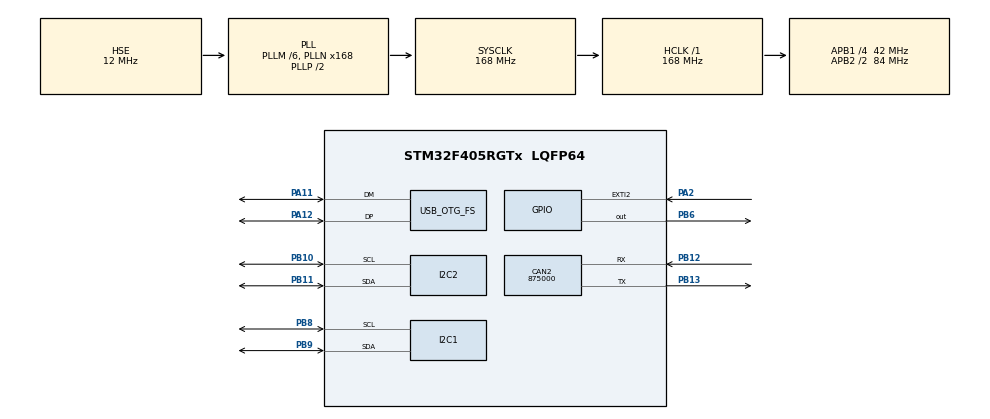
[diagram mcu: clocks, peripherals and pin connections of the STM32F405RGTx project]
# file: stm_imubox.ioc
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CAN2.BS1=CAN_BS1_1TQ
CAN2.BS2=CAN_BS2_1TQ
CAN2.CalculateBaudRate=875000
CAN2.CalculateTimeBit=1142
CAN2.CalculateTimeQuantum=380.95238095238096
I2C1.I2C_Mode=I2C_Standard
Mcu.Family=STM32F4
Mcu.Name=STM32F405RGTx
Mcu.Package=LQFP64
NVIC.PriorityGroup=NVIC_PRIORITYGROUP_4
PA11.Mode=Host_Only
PA11.Signal=USB_OTG_FS_DM
PA12.Mode=Host_Only
PA12.Signal=USB_OTG_FS_DP
PA13.Mode=JTAG_4_pins
PA13.Signal=SYS_JTMS-SWDIO
PA14.Mode=JTAG_4_pins
PA14.Signal=SYS_JTCK-SWCLK
PA15.Mode=JTAG_4_pins
PA15.Signal=SYS_JTDI
PA2.Signal=GPXTI2
PB10.Mode=I2C
PB10.Signal=I2C2_SCL
PB11.Mode=I2C
PB11.Signal=I2C2_SDA
PB12.Mode=CAN_Activate
PB12.Signal=CAN2_RX
PB13.Mode=CAN_Activate
PB13.Signal=CAN2_TX
PB3.Mode=JTAG_4_pins
PB3.Signal=SYS_JTDO-SWO
PB6.Signal=GPIO_Output
PB8.Mode=I2C
PB8.Signal=I2C1_SCL
PB9.Mode=I2C
PB9.Signal=I2C1_SDA
PH0-OSC_IN.Mode=HSE-External-Oscillator
PH0-OSC_IN.Signal=RCC_OSC_IN
PH1-OSC_OUT.Mode=HSE-External-Oscillator
PH1-OSC_OUT.Signal=RCC_OSC_OUT
ProjectManager.HeapSize=0x200
ProjectManager.StackSize=0x400
ProjectManager.TargetToolchain=STM32CubeIDE
RCC.48MHZClocksFreq_Value=48000000
RCC.AHBFreq_Value=168000000
RCC.APB1CLKDivider=RCC_HCLK_DIV4
RCC.APB1Freq_Value=42000000
RCC.APB1TimFreq_Value=84000000
RCC.APB2CLKDivider=RCC_HCLK_DIV2
RCC.APB2Freq_Value=84000000
RCC.APB2TimFreq_Value=168000000
RCC.CortexFreq_Value=168000000
RCC.HCLKFreq_Value=168000000
RCC.HSE_VALUE=12000000
RCC.HSI_VALUE=16000000
RCC.LSE_VALUE=32768
RCC.PLLM=6
RCC.PLLN=168
RCC.PLLQ=7
RCC.SYSCLKFreq_VALUE=168000000
RCC.SYSCLKSource=RCC_SYSCLKSOURCE_PLLCLK
RCC.VCOOutputFreq_Value=336000000
USB_OTG_FS.VirtualMode=Host_Only
USB_OTG_FS.phy_itface=HCD_PHY_EMBEDDED
board=custom

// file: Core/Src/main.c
/* USER CODE BEGIN Header */
/**
  ******************************************************************************
  * @file           : main.c
  * @brief          : Main program body
  ******************************************************************************
  * @attention
  *
  * Copyright (c) 2025 STMicroelectronics.
  * All rights reserved.
  *
  * This software is licensed under terms that can be found in the LICENSE file
  * in the root directory of this software component.
  * If no LICENSE file comes with this software, it is provided AS-IS.
  *
  ******************************************************************************
  */
/* USER CODE END Header */
#include "main.h"

CAN_HandleTypeDef hcan2;

I2C_HandleTypeDef hi2c1;
I2C_HandleTypeDef hi2c2;

HCD_HandleTypeDef hhcd_USB_OTG_FS;

/* USER CODE BEGIN PV */

ISM330DHCX_Object_t myISM;
ISM330DHCX_Axes_t accelData, gyroData;

uint8_t ledState = GPIO_PIN_SET;

float pitch = 0.0, roll = 0.0;
float pitchAccel = 0.0, rollAccel = 0.0;
float kpitch = 0.98;
float kroll = 0.98;

/* USER CODE END PV */

void SystemClock_Config(void);
static void MX_GPIO_Init(void);
static void MX_CAN2_Init(void);
static void MX_I2C1_Init(void);
static void MX_I2C2_Init(void);
static void MX_USB_OTG_FS_HCD_Init(void);

int main(void)
{

  /* MCU Configuration--------------------------------------------------------*/

  /* Reset of all peripherals, Initializes the Flash interface and the Systick. */
  HAL_Init();

  /* Configure the system clock */
  SystemClock_Config();

  /* Initialize all configured peripherals */
  MX_GPIO_Init();
  MX_CAN2_Init();
  MX_I2C1_Init();
  MX_I2C2_Init();
  MX_USB_OTG_FS_HCD_Init();
  /* USER CODE BEGIN 2 */
  HAL_Delay(100);
  if (ISM330DHCX_Init(&myISM) != ISM330DHCX_OK) { // ISM330HDCX OK is equal to 0
          printf("lmao your ism didnt work lil bro \n");
          Error_Handler();
      }
  /* USER CODE END 2 */

  /* Infinite loop */
  /* USER CODE BEGIN WHILE */
  int32_t status;
  status = device_reset(&myISM);
  if (!status) {
	  printf("ism failed to reset \n")
	  Error_Handler();
  }

  config_ism();
  //implement CAN here

  ISM330DHCX_ACC_Enable(&imu);
  ISM330DHCX_GYRO_Enable(&imu);
  HAL_Delay(500);

  uint32_t prevTime = HAL_GetTick();
  while (1)
  {
	  HAL_GPIO_WritePin(GPIOA, GPIO_PIN_6, GPIO_PIN_SET);
	  if (ISM330DHCX_ACC_GetAxes(&myISM, &accelData) == ISM330DHCX_OK && ISM330DHCX_GYRO_GetAxes(&imu, &gyroData) == ISM330DHCX_OK) {
		  float dt = ((float) HAL_GetTick() - (float) prevTime) / 1000.0;
		  prevTime = HAL_GetTick();

		  int xAccel = (int) accelData.x;
		  int yAccel = (int) accelData.y;
		  int zAccel = (int) accelData.z;

		  //write to CAN

		  int xGyro = (int) gyroData.x;
		  int yGyro = (int) gyroData.y;
		  int zGyro = (int) gyroData.z;

		  pitchAccel = atan2(-yAccel, sqrt(pow(xAccel, 2) + pow(zAccel, 2))) * (180000.0f / M_PI);
		  rollAccel = atan2(xAccel, sqrt(pow(yAccel, 2) + pow(zAccel, 2))) * (180000.0f / M_PI);

		  pitch = kpitch * (pitch + ((float)xGyro * dt)) + (1.0f - kpitch) * pitchAccel;

		  printf(pitchAccel * 180000.0/3.1415);
		  printf("\t");
		  printf(pitch);

		  //write to CAN
	  }
    /* USER CODE END WHILE */
    /* USER CODE BEGIN 3 */

	  static uint32_t timeout = HAL_GetTick();
	  if (HAL_GetTick() - timeout > 5000) {
		  ledState = (ledState == GPIO_PIN_SET) ? GPIO_PIN_RESET : GPIO_PIN_SET;
		  HAL_GPIO_WritePin(GPIOB, GPIO_PIN_6, ledState);
		  timeout = HAL_GetTick();
	  }

//	  HAL_Delay(5);
//	  HAL_GPIO_WritePin(GPIOA, GPIO_PIN_6, GPIO_PIN_RESET);
  }
  /* USER CODE END 3 */
}

void SystemClock_Config(void)
{
  RCC_OscInitTypeDef RCC_OscInitStruct = {0};
  RCC_ClkInitTypeDef RCC_ClkInitStruct = {0};

  /** Configure the main internal regulator output voltage
  */
  __HAL_RCC_PWR_CLK_ENABLE();
  __HAL_PWR_VOLTAGESCALING_CONFIG(PWR_REGULATOR_VOLTAGE_SCALE1);

  /** Initializes the RCC Oscillators according to the specified parameters
  * in the RCC_OscInitTypeDef structure.
  */
  RCC_OscInitStruct.OscillatorType = RCC_OSCILLATORTYPE_HSE;
  RCC_OscInitStruct.HSEState = RCC_HSE_ON;
  RCC_OscInitStruct.PLL.PLLState = RCC_PLL_ON;
  RCC_OscInitStruct.PLL.PLLSource = RCC_PLLSOURCE_HSE;
  RCC_OscInitStruct.PLL.PLLM = 6;
  RCC_OscInitStruct.PLL.PLLN = 168;
  RCC_OscInitStruct.PLL.PLLP = RCC_PLLP_DIV2;
  RCC_OscInitStruct.PLL.PLLQ = 7;
  if (HAL_RCC_OscConfig(&RCC_OscInitStruct) != HAL_OK)
  {
    Error_Handler();
  }

  /** Initializes the CPU, AHB and APB buses clocks
  */
  RCC_ClkInitStruct.ClockType = RCC_CLOCKTYPE_HCLK|RCC_CLOCKTYPE_SYSCLK
                              |RCC_CLOCKTYPE_PCLK1|RCC_CLOCKTYPE_PCLK2;
  RCC_ClkInitStruct.SYSCLKSource = RCC_SYSCLKSOURCE_PLLCLK;
  RCC_ClkInitStruct.AHBCLKDivider = RCC_SYSCLK_DIV1;
  RCC_ClkInitStruct.APB1CLKDivider = RCC_HCLK_DIV4;
  RCC_ClkInitStruct.APB2CLKDivider = RCC_HCLK_DIV2;

  if (HAL_RCC_ClockConfig(&RCC_ClkInitStruct, FLASH_LATENCY_5) != HAL_OK)
  {
    Error_Handler();
  }
}

static void MX_CAN2_Init(void)
{

  hcan2.Instance = CAN2;
  hcan2.Init.Prescaler = 16;
  hcan2.Init.Mode = CAN_MODE_NORMAL;
  hcan2.Init.SyncJumpWidth = CAN_SJW_1TQ;
  hcan2.Init.TimeSeg1 = CAN_BS1_1TQ;
  hcan2.Init.TimeSeg2 = CAN_BS2_1TQ;
  hcan2.Init.TimeTriggeredMode = DISABLE;
  hcan2.Init.AutoBusOff = DISABLE;
  hcan2.Init.AutoWakeUp = DISABLE;
  hcan2.Init.AutoRetransmission = DISABLE;
  hcan2.Init.ReceiveFifoLocked = DISABLE;
  hcan2.Init.TransmitFifoPriority = DISABLE;
  if (HAL_CAN_Init(&hcan2) != HAL_OK)
  {
    Error_Handler();
  }

}

static void MX_I2C1_Init(void)
{

  hi2c1.Instance = I2C1;
  hi2c1.Init.ClockSpeed = 100000;
  hi2c1.Init.DutyCycle = I2C_DUTYCYCLE_2;
  hi2c1.Init.OwnAddress1 = 0;
  hi2c1.Init.AddressingMode = I2C_ADDRESSINGMODE_7BIT;
  hi2c1.Init.DualAddressMode = I2C_DUALADDRESS_DISABLE;
  hi2c1.Init.OwnAddress2 = 0;
  hi2c1.Init.GeneralCallMode = I2C_GENERALCALL_DISABLE;
  hi2c1.Init.NoStretchMode = I2C_NOSTRETCH_DISABLE;
  if (HAL_I2C_Init(&hi2c1) != HAL_OK)
  {
    Error_Handler();
  }

}

static void MX_I2C2_Init(void)
{

  hi2c2.Instance = I2C2;
  hi2c2.Init.ClockSpeed = 100000;
  hi2c2.Init.DutyCycle = I2C_DUTYCYCLE_2;
  hi2c2.Init.OwnAddress1 = 0;
  hi2c2.Init.AddressingMode = I2C_ADDRESSINGMODE_7BIT;
  hi2c2.Init.DualAddressMode = I2C_DUALADDRESS_DISABLE;
  hi2c2.Init.OwnAddress2 = 0;
  hi2c2.Init.GeneralCallMode = I2C_GENERALCALL_DISABLE;
  hi2c2.Init.NoStretchMode = I2C_NOSTRETCH_DISABLE;
  if (HAL_I2C_Init(&hi2c2) != HAL_OK)
  {
    Error_Handler();
  }

}

static void MX_USB_OTG_FS_HCD_Init(void)
{

  hhcd_USB_OTG_FS.Instance = USB_OTG_FS;
  hhcd_USB_OTG_FS.Init.Host_channels = 8;
  hhcd_USB_OTG_FS.Init.speed = HCD_SPEED_FULL;
  hhcd_USB_OTG_FS.Init.dma_enable = DISABLE;
  hhcd_USB_OTG_FS.Init.phy_itface = HCD_PHY_EMBEDDED;
  hhcd_USB_OTG_FS.Init.Sof_enable = DISABLE;
  if (HAL_HCD_Init(&hhcd_USB_OTG_FS) != HAL_OK)
  {
    Error_Handler();
  }

}

static void MX_GPIO_Init(void)
{
  GPIO_InitTypeDef GPIO_InitStruct = {0};

  /* GPIO Ports Clock Enable */
  __HAL_RCC_GPIOH_CLK_ENABLE();
  __HAL_RCC_GPIOA_CLK_ENABLE();
  __HAL_RCC_GPIOB_CLK_ENABLE();

  /*Configure GPIO pin Output Level */
  HAL_GPIO_WritePin(GPIOB, GPIO_PIN_6, GPIO_PIN_RESET);

  /*Configure GPIO pin : PA2 */
  GPIO_InitStruct.Pin = GPIO_PIN_2;
  GPIO_InitStruct.Mode = GPIO_MODE_IT_RISING;
  GPIO_InitStruct.Pull = GPIO_NOPULL;
  HAL_GPIO_Init(GPIOA, &GPIO_InitStruct);

  /*Configure GPIO pin : PB6 */
  GPIO_InitStruct.Pin = GPIO_PIN_6;
  GPIO_InitStruct.Mode = GPIO_MODE_OUTPUT_PP;
  GPIO_InitStruct.Pull = GPIO_NOPULL;
  GPIO_InitStruct.Speed = GPIO_SPEED_FREQ_LOW;
  HAL_GPIO_Init(GPIOB, &GPIO_InitStruct);

}

/* USER CODE BEGIN 4 */

/*
 * int32_t ism330dhcx_reset_set(stmdev_ctx_t *ctx, uint8_t val)
	{
	  ism330dhcx_ctrl3_c_t ctrl3_c;
	  int32_t ret;
	  ret = ism330dhcx_read_reg(ctx, ISM330DHCX_CTRL3_C,
	                            (uint8_t *)&ctrl3_c, 1);

	  if (ret == 0)
	  {
	    ctrl3_c.sw_reset = (uint8_t)val;
	    ret = ism330dhcx_write_reg(ctx, ISM330DHCX_CTRL3_C,
	                               (uint8_t *)&ctrl3_c, 1);
	  }

	  return ret;
	}
 */
int device_reset(ISM330DHCX_Object_t *ism) {
	ism330dhcx_ctrl3_c_t ctrl3_c;
	int32_t ret;

	ret = ism330dhcx_read_reg(&ism->Ctx, ISM330DHCX_CTRL3_C, (uint8_t *)&ctrl3_c, 1);
	if (ret != 0) {
		return ret;
	}

	ctrl3_c.sw_reset = 1; // turns on reset
	ret = ism330dhcx_write_reg(&ism->Ctx, ISM330DHCX_CTRL3_C, (uint8_t *)&ctrl3_c, 1);
	if (ret != 0) {
		return ret;
	}

	do { //check to make sure register is updated
		HAL_Delay(10);
		ret = ism330dhcx_read_reg(&ism->Ctx, ISM330DHCX_CTRL3_C, (uint8_t *)&ctrl3_c, 1);
		if (ret != 0) {
			return ret;
		}
	} while (ctrl3_c.sw_reset != 0);

	return 0;
}

void config_ism(void) {
	// enable block update
    if (ISM330DHCX_Write_Reg(&imu, ISM330DHCX_CTRL3_C, 0x40) != ISM330DHCX_OK) {
        Error_Handler();
    }

    // set acc data rate to 208hz
    if (ISM330DHCX_ACC_SetOutputDataRate(&imu, 208.0f) != ISM330DHCX_OK) {
        Error_Handler();
    }
    // set acc data to scale to +- 2 G's
    if (ISM330DHCX_ACC_SetFullScale(&imu, 2) != ISM330DHCX_OK) {
        Error_Handler();
    }

    // set gyro data rate to 208hz
    if (ISM330DHCX_GYRO_SetOutputDataRate(&imu, 208.0f) != ISM330DHCX_OK) {
        Error_Handler();
    }
    //set gyro scaling to 500 dps
    if (ISM330DHCX_GYRO_SetFullScale(&imu, 500) != ISM330DHCX_OK) {
        Error_Handler();
    }

    // enable lpf2 filter
    if (ISM330DHCX_ACC_Enable_LPF2(&imu) != ISM330DHCX_OK) {
        Error_Handler();
    }

    // some filter
    if (ISM330DHCX_Write_Reg(&imu, ISM330DHCX_CTRL1_XL, 0x00) != ISM330DHCX_OK) {
        Error_Handler();
    }

//    // gyro lpf1 filter
//    if (ISM330DHCX_GYRO_EnableLPF1(&imu) != ISM330DHCX_OK) {
//        Error_Handler();
//    }
//
//    // josh cooked here? soemthing to do with setting the bandwidth to agressive
//    if (ISM330DHCX_Write_Reg(&imu, ISM330DHCX_CTRL4_C, 0x00) != ISM330DHCX_OK) {
//        Error_Handler();
//    }
}
/* USER CODE END 4 */

void Error_Handler(void)
{
  /* USER CODE BEGIN Error_Handler_Debug */
  /* User can add his own implementation to report the HAL error return state */
  __disable_irq();
  while (1)
  {
	  HAL_GPIO_TogglePin(GPIOB, GPIO_PIN_13);
	  HAL_Delay(100);
  }
  /* USER CODE END Error_Handler_Debug */
}
